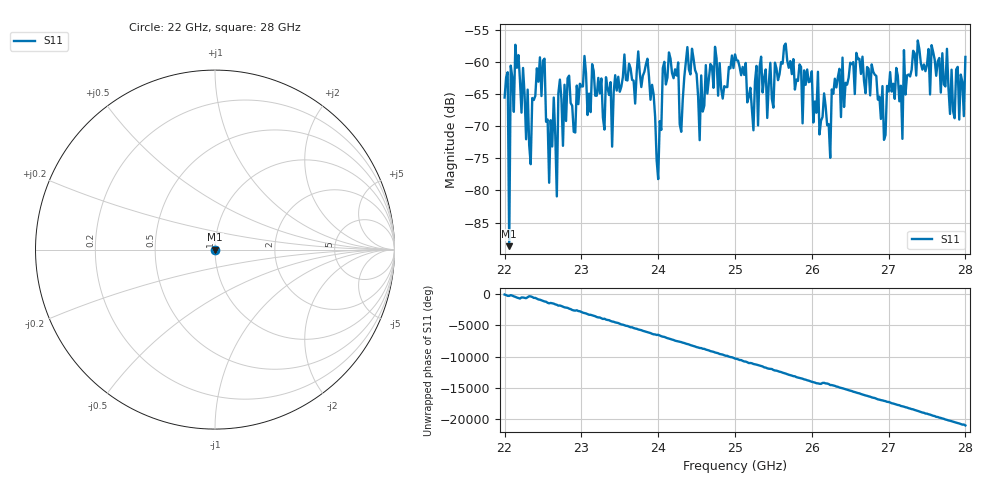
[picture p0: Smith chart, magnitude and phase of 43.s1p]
#  HZ  S  RI  R  50.00
! Rohde & Schwarz ZVA40 4Ports - Version 3.90 - 1145.1110k42 SN: 100403
! Date: 2023-10-04 11:29:03
! Measurement: S12
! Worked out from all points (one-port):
!   301 points, 22 GHz to 28 GHz, reference 50 ohm
!   lowest |S11| = -88.7 dB at 22.06 GHz (marker M1), VSWR 1.00, Z = 50 + j0.00352 ohm
!   |S11| at or under -10 dB: start of sweep to end of sweep
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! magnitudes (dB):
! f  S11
! 22 GHz  -65.5
! 22.04 GHz  -61.6
! 22.06 GHz  -88.7
! 22.08 GHz  -60.6
! 22.14 GHz  -57.3
! 22.34 GHz  -75.9
! 22.46 GHz  -59.3
! 22.58 GHz  -78.8
! 22.64 GHz  -65.5
! 22.68 GHz  -80.9
! 22.72 GHz  -62.7
! 22.76 GHz  -73.0
! 23.04 GHz  -59.0
! 23.5 GHz  -64.6
! 23.86 GHz  -59.5
! 24 GHz  -78.2
! 24.06 GHz  -60.9
! 24.26 GHz  -60.1
! 24.44 GHz  -57.9
! 24.54 GHz  -72.2
! 25 GHz  -58.8
! 25.24 GHz  -70.6
! 25.76 GHz  -59.5
! 26.24 GHz  -74.9
! 26.5 GHz  -60.1
! 26.94 GHz  -72.1
! 27.26 GHz  -61.9
! 28 GHz  -59.2
